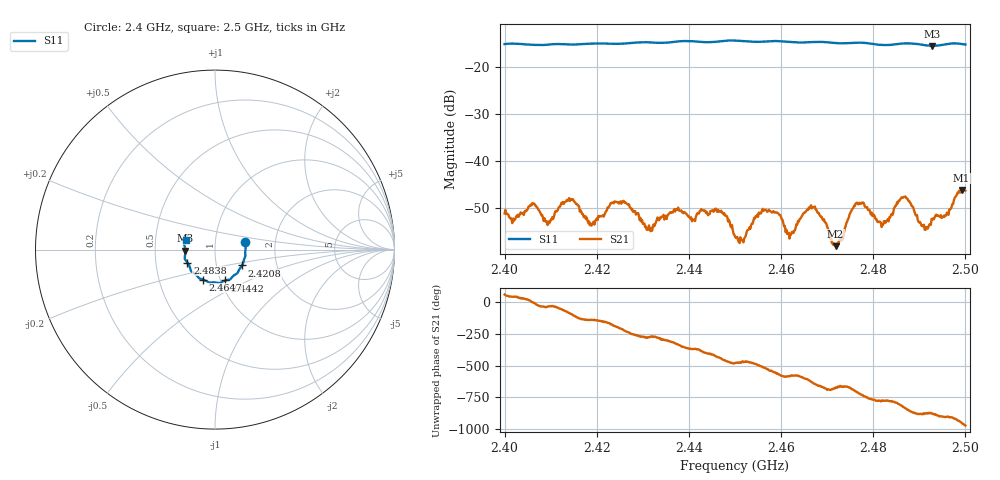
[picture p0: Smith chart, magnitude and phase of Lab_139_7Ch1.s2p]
# Hz S RI R 50
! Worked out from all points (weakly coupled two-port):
!   601 points, 2.4 GHz to 2.5 GHz, reference 50 ohm
!   highest |S21| = -46.10 dB at 2.4992 GHz (marker M1); lowest = -58.0 dB at 2.4718 GHz (marker M2)
!   lowest |S11| = -15.6 dB at 2.4928 GHz (marker M3), VSWR 1.40, Z = 35.8 - j0.387 ohm
!   |S11| at or under -10 dB: start of sweep to end of sweep
!   S12 and S22 are empty: the file has one direction only
!   S11 on the Smith chart (normalised r, x): 2.4 GHz: 1.40, +0.12; 2.4208 GHz: 1.33, -0.24; 2.4442 GHz: 1.05, -0.37; 2.4647 GHz: 0.83, -0.29; 2.4838 GHz: 0.73, -0.11; 2.5 GHz: 0.72, +0.08
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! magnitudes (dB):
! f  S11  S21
! 2.4 GHz  -15.2  -51.1
! 2.4143 GHz  -15.3  -48.1
! 2.4167 GHz  -15.3  -50.8
! 2.4208 GHz  -15.1  -51.7
! 2.4257 GHz  -15.2  -48.6
! 2.4312 GHz  -14.9  -54.5
! 2.4333 GHz  -15.0  -52.0
! 2.4442 GHz  -14.8  -51.5
! 2.45 GHz  -14.5  -55.9
! 2.4563 GHz  -14.7  -50.4
! 2.4618 GHz  -14.8  -56.4
! 2.4647 GHz  -14.9  -51.4
! 2.4667 GHz  -14.8  -50.0
! 2.4718 GHz  -15.0  -58.0
! 2.4765 GHz  -15.0  -48.8
! 2.4833 GHz  -15.4  -52.8
! 2.4838 GHz  -15.4  -51.4
! 2.4867 GHz  -15.1  -47.6
! 2.4908 GHz  -15.4  -53.8
! 2.4928 GHz  -15.6  -52.3
! 2.4992 GHz  -15.2  -46.1
! 2.5 GHz  -15.3  -46.2
